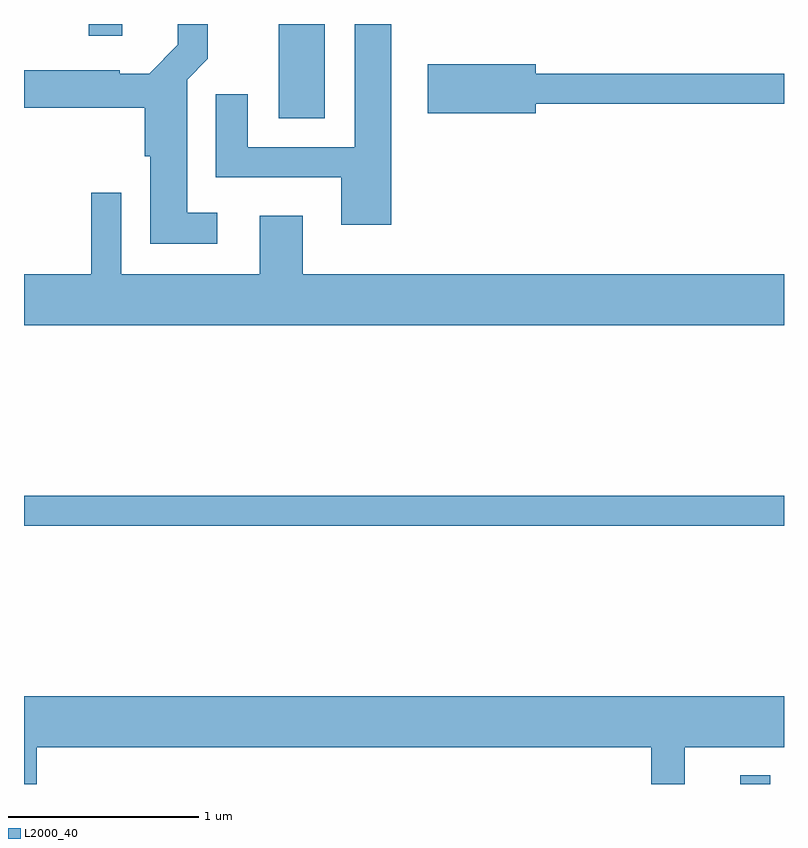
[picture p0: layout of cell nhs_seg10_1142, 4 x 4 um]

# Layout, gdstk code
import gdstk
lib = gdstk.Library(unit=1e-6, precision=1e-09)
def R(c, l, rs):  # rectangles x0, y0, x1, y1
    for r in rs: c.add(gdstk.rectangle(r[:2], r[2:], *l))
def P(c, l, *ps):  # polygons
    for p in ps: c.add(gdstk.Polygon(p, *l))
L2000_40 = (2000, 40)

nhs_seg10_1142 = lib.new_cell('nhs_seg10_1142')
R(nhs_seg10_1142, L2000_40, [(221.381,2202.522,221.539,2202.568), (217.611,2203.881,221.611,2204.039), (218.951,2206.026,219.194,2206.522), (217.951,2206.461,218.129,2206.522)])
P(nhs_seg10_1142, L2000_40, [(218.628,2205.529),(218.469,2205.529),(218.469,2206.229),(218.579,2206.339),(218.579,2206.522),(218.421,2206.522),(218.421,2206.412),(218.269,2206.259),(218.114,2206.259),(218.114,2206.279),(217.611,2206.279),(217.611,2206.081),(218.246,2206.081),(218.246,2205.826),(218.276,2205.826),(218.276,2205.366),(218.628,2205.366)],
  [(219.544,2206.522),(219.351,2206.522),(219.351,2205.874),(218.789,2205.874),(218.789,2206.153),(218.621,2206.153),(218.621,2205.716),(219.281,2205.716),(219.281,2205.466),(219.544,2205.466)],
  [(220.304,2206.101),(221.611,2206.101),(221.611,2206.259),(220.304,2206.259),(220.304,2206.309),(219.736,2206.309),(219.736,2206.051),(220.304,2206.051)],
  [(221.611,2205.204),(219.079,2205.204),(219.079,2205.514),(218.851,2205.514),(218.851,2205.204),(218.124,2205.204),(218.124,2205.633),(217.966,2205.633),(217.966,2205.204),(217.611,2205.204),(217.611,2204.936),(221.611,2204.936)],
  [(217.679,2202.716),(220.911,2202.716),(220.911,2202.522),(221.089,2202.522),(221.089,2202.716),(221.611,2202.716),(221.611,2202.984),(217.611,2202.984),(217.611,2202.522),(217.679,2202.522)])

lib.write_gds('nhs_seg10_1142.gds')
